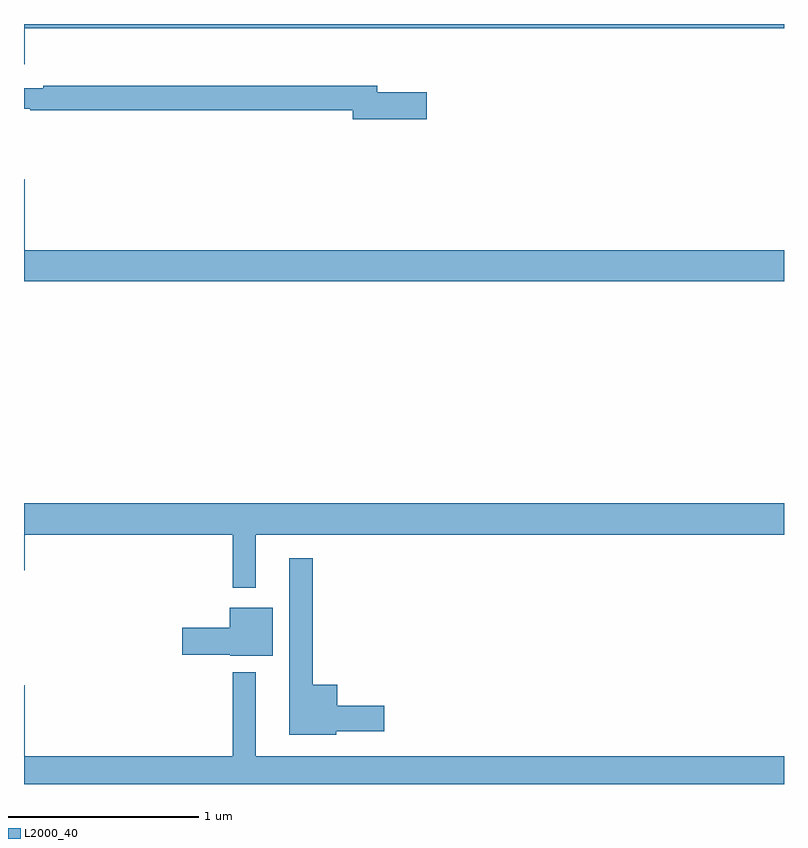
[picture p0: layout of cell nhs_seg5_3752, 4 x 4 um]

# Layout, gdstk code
import gdstk
lib = gdstk.Library(unit=1e-6, precision=1e-09)
def P(c, l, *ps):  # polygons
    for p in ps: c.add(gdstk.Polygon(p, *l))
L2000_40 = (2000, 40)

nhs_seg5_3752 = lib.new_cell('nhs_seg5_3752')
P(nhs_seg5_3752, L2000_40, [(333.004,840.776),(337,840.776),(337,840.799),(333,840.799),(333,840.588),(333.004,840.588)],
  [(335.119,840.441),(334.858,840.441),(334.858,840.475),(333.1,840.475),(333.1,840.462),(333,840.462),(333,840.354),(333.034,840.354),(333.034,840.346),(334.73,840.346),(334.73,840.299),(335.119,840.299)],
  [(337,839.608),(333.004,839.608),(333.004,839.983),(333,839.983),(333,839.444),(337,839.444)],
  [(334.219,838.112),(337,838.112),(337,838.276),(333,838.276),(333,837.924),(333.004,837.924),(333.004,838.112),(334.098,838.112),(334.098,837.831),(334.219,837.831)],
  [(334.644,837.077),(334.897,837.077),(334.897,837.212),(334.648,837.212),(334.648,837.322),(334.519,837.322),(334.519,837.988),(334.397,837.988),(334.397,837.059),(334.644,837.059)],
  [(334.309,837.727),(334.082,837.727),(334.082,837.621),(333.834,837.621),(333.834,837.479),(334.086,837.479),(334.086,837.473),(334.309,837.473)],
  [(333,837.319),(333,836.799),(337,836.799),(337,836.944),(334.219,836.944),(334.219,837.388),(334.098,837.388),(334.098,836.944),(333.004,836.944),(333.004,837.319)])

lib.write_gds('nhs_seg5_3752.gds')
